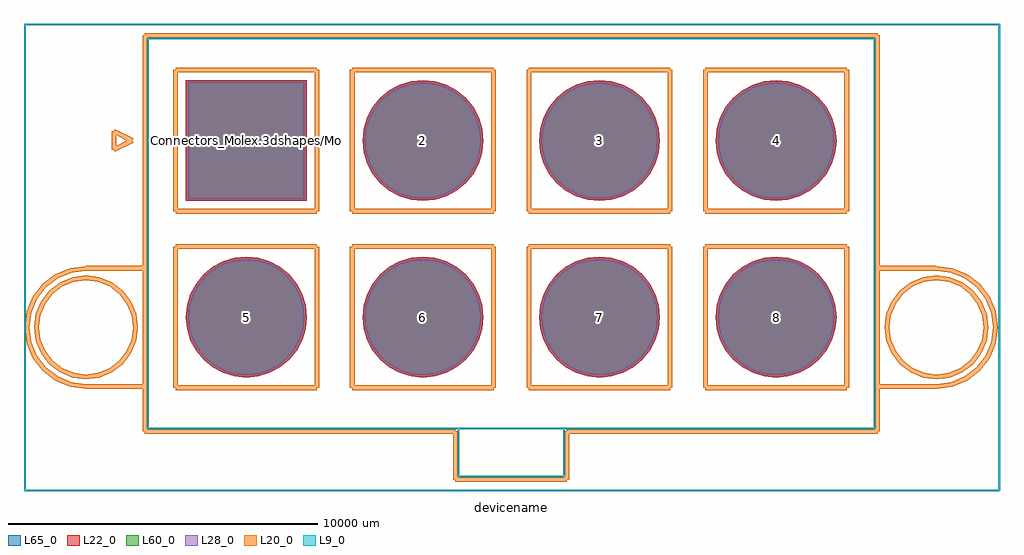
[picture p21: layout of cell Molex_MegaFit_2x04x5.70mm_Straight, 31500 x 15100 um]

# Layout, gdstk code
import gdstk
lib = gdstk.Library(unit=1e-6, precision=1e-09)
def R(c, l, rs):  # rectangles x0, y0, x1, y1
    for r in rs: c.add(gdstk.rectangle(r[:2], r[2:], *l))
def P(c, l, *ps):  # polygons
    for p in ps: c.add(gdstk.Polygon(p, *l))
L9_0 = (9, 0)
L20_0 = (20, 0)
L22_0 = (22, 0)
L28_0 = (28, 0)
L60_0 = (60, 0)
L65_0 = (65, 0)

molex_megafit_2x04x5_70m = lib.new_cell('Molex_MegaFit_2x04x5.70mm_Straight')
R(molex_megafit_2x04x5_70m, L22_0, [(-1950,-1950,1950,1950)])
P(molex_megafit_2x04x5_70m, L22_0, [(19050,-5700),(19012.531,-5319.574),(18901.565,-4953.767),(18721.366,-4616.638),(18478.858,-4321.142),(18183.362,-4078.634),(17846.233,-3898.435),(17480.426,-3787.469),(17100,-3750),(16719.574,-3787.469),(16353.767,-3898.435),(16016.638,-4078.634),(15721.142,-4321.142),(15478.634,-4616.638),(15298.435,-4953.767),(15187.469,-5319.574),(15150,-5700),(15187.469,-6080.426),(15298.435,-6446.233),(15478.634,-6783.362),(15721.142,-7078.858),(16016.638,-7321.366),(16353.767,-7501.565),(16719.574,-7612.531),(17100,-7650),(17480.426,-7612.531),(17846.233,-7501.565),(18183.362,-7321.366),(18478.858,-7078.858),(18721.366,-6783.362),(18901.565,-6446.233),(19012.531,-6080.426)],
  [(13350,-5700),(13312.531,-5319.574),(13201.565,-4953.767),(13021.366,-4616.638),(12778.858,-4321.142),(12483.362,-4078.634),(12146.233,-3898.435),(11780.426,-3787.469),(11400,-3750),(11019.574,-3787.469),(10653.767,-3898.435),(10316.638,-4078.634),(10021.142,-4321.142),(9778.634,-4616.638),(9598.435,-4953.767),(9487.469,-5319.574),(9450,-5700),(9487.469,-6080.426),(9598.435,-6446.233),(9778.634,-6783.362),(10021.142,-7078.858),(10316.638,-7321.366),(10653.767,-7501.565),(11019.574,-7612.531),(11400,-7650),(11780.426,-7612.531),(12146.233,-7501.565),(12483.362,-7321.366),(12778.858,-7078.858),(13021.366,-6783.362),(13201.565,-6446.233),(13312.531,-6080.426)],
  [(7650,-5700),(7612.531,-5319.574),(7501.565,-4953.767),(7321.366,-4616.638),(7078.858,-4321.142),(6783.362,-4078.634),(6446.233,-3898.435),(6080.426,-3787.469),(5700,-3750),(5319.574,-3787.469),(4953.767,-3898.435),(4616.638,-4078.634),(4321.142,-4321.142),(4078.634,-4616.638),(3898.435,-4953.767),(3787.469,-5319.574),(3750,-5700),(3787.469,-6080.426),(3898.435,-6446.233),(4078.634,-6783.362),(4321.142,-7078.858),(4616.638,-7321.366),(4953.767,-7501.565),(5319.574,-7612.531),(5700,-7650),(6080.426,-7612.531),(6446.233,-7501.565),(6783.362,-7321.366),(7078.858,-7078.858),(7321.366,-6783.362),(7501.565,-6446.233),(7612.531,-6080.426)],
  [(1950,-5700),(1912.531,-5319.574),(1801.565,-4953.767),(1621.366,-4616.638),(1378.858,-4321.142),(1083.362,-4078.634),(746.233,-3898.435),(380.426,-3787.469),(0,-3750),(-380.426,-3787.469),(-746.233,-3898.435),(-1083.362,-4078.634),(-1378.858,-4321.142),(-1621.366,-4616.638),(-1801.565,-4953.767),(-1912.531,-5319.574),(-1950,-5700),(-1912.531,-6080.426),(-1801.565,-6446.233),(-1621.366,-6783.362),(-1378.858,-7078.858),(-1083.362,-7321.366),(-746.233,-7501.565),(-380.426,-7612.531),(0,-7650),(380.426,-7612.531),(746.233,-7501.565),(1083.362,-7321.366),(1378.858,-7078.858),(1621.366,-6783.362),(1801.565,-6446.233),(1912.531,-6080.426)],
  [(19050,0),(19012.531,380.426),(18901.565,746.233),(18721.366,1083.362),(18478.858,1378.858),(18183.362,1621.366),(17846.233,1801.565),(17480.426,1912.531),(17100,1950),(16719.574,1912.531),(16353.767,1801.565),(16016.638,1621.366),(15721.142,1378.858),(15478.634,1083.362),(15298.435,746.233),(15187.469,380.426),(15150,0),(15187.469,-380.426),(15298.435,-746.233),(15478.634,-1083.362),(15721.142,-1378.858),(16016.638,-1621.366),(16353.767,-1801.565),(16719.574,-1912.531),(17100,-1950),(17480.426,-1912.531),(17846.233,-1801.565),(18183.362,-1621.366),(18478.858,-1378.858),(18721.366,-1083.362),(18901.565,-746.233),(19012.531,-380.426)],
  [(13350,0),(13312.531,380.426),(13201.565,746.233),(13021.366,1083.362),(12778.858,1378.858),(12483.362,1621.366),(12146.233,1801.565),(11780.426,1912.531),(11400,1950),(11019.574,1912.531),(10653.767,1801.565),(10316.638,1621.366),(10021.142,1378.858),(9778.634,1083.362),(9598.435,746.233),(9487.469,380.426),(9450,0),(9487.469,-380.426),(9598.435,-746.233),(9778.634,-1083.362),(10021.142,-1378.858),(10316.638,-1621.366),(10653.767,-1801.565),(11019.574,-1912.531),(11400,-1950),(11780.426,-1912.531),(12146.233,-1801.565),(12483.362,-1621.366),(12778.858,-1378.858),(13021.366,-1083.362),(13201.565,-746.233),(13312.531,-380.426)],
  [(7650,0),(7612.531,380.426),(7501.565,746.233),(7321.366,1083.362),(7078.858,1378.858),(6783.362,1621.366),(6446.233,1801.565),(6080.426,1912.531),(5700,1950),(5319.574,1912.531),(4953.767,1801.565),(4616.638,1621.366),(4321.142,1378.858),(4078.634,1083.362),(3898.435,746.233),(3787.469,380.426),(3750,0),(3787.469,-380.426),(3898.435,-746.233),(4078.634,-1083.362),(4321.142,-1378.858),(4616.638,-1621.366),(4953.767,-1801.565),(5319.574,-1912.531),(5700,-1950),(6080.426,-1912.531),(6446.233,-1801.565),(6783.362,-1621.366),(7078.858,-1378.858),(7321.366,-1083.362),(7501.565,-746.233),(7612.531,-380.426)])
R(molex_megafit_2x04x5_70m, L28_0, [(-1875,-1875,1875,1875)])
P(molex_megafit_2x04x5_70m, L28_0, [(18975,-5700),(18938.972,-5334.206),(18832.274,-4982.469),(18659.006,-4658.306),(18425.825,-4374.175),(18141.694,-4140.994),(17817.531,-3967.726),(17465.794,-3861.028),(17100,-3825),(16734.206,-3861.028),(16382.469,-3967.726),(16058.306,-4140.994),(15774.175,-4374.175),(15540.994,-4658.306),(15367.726,-4982.469),(15261.028,-5334.206),(15225,-5700),(15261.028,-6065.794),(15367.726,-6417.531),(15540.994,-6741.694),(15774.175,-7025.825),(16058.306,-7259.006),(16382.469,-7432.274),(16734.206,-7538.972),(17100,-7575),(17465.794,-7538.972),(17817.531,-7432.274),(18141.694,-7259.006),(18425.825,-7025.825),(18659.006,-6741.694),(18832.274,-6417.531),(18938.972,-6065.794)],
  [(13275,-5700),(13238.972,-5334.206),(13132.274,-4982.469),(12959.006,-4658.306),(12725.825,-4374.175),(12441.694,-4140.994),(12117.531,-3967.726),(11765.794,-3861.028),(11400,-3825),(11034.206,-3861.028),(10682.469,-3967.726),(10358.306,-4140.994),(10074.175,-4374.175),(9840.994,-4658.306),(9667.726,-4982.469),(9561.028,-5334.206),(9525,-5700),(9561.028,-6065.794),(9667.726,-6417.531),(9840.994,-6741.694),(10074.175,-7025.825),(10358.306,-7259.006),(10682.469,-7432.274),(11034.206,-7538.972),(11400,-7575),(11765.794,-7538.972),(12117.531,-7432.274),(12441.694,-7259.006),(12725.825,-7025.825),(12959.006,-6741.694),(13132.274,-6417.531),(13238.972,-6065.794)],
  [(7575,-5700),(7538.972,-5334.206),(7432.274,-4982.469),(7259.006,-4658.306),(7025.825,-4374.175),(6741.694,-4140.994),(6417.531,-3967.726),(6065.794,-3861.028),(5700,-3825),(5334.206,-3861.028),(4982.469,-3967.726),(4658.306,-4140.994),(4374.175,-4374.175),(4140.994,-4658.306),(3967.726,-4982.469),(3861.028,-5334.206),(3825,-5700),(3861.028,-6065.794),(3967.726,-6417.531),(4140.994,-6741.694),(4374.175,-7025.825),(4658.306,-7259.006),(4982.469,-7432.274),(5334.206,-7538.972),(5700,-7575),(6065.794,-7538.972),(6417.531,-7432.274),(6741.694,-7259.006),(7025.825,-7025.825),(7259.006,-6741.694),(7432.274,-6417.531),(7538.972,-6065.794)],
  [(1875,-5700),(1838.972,-5334.206),(1732.274,-4982.469),(1559.006,-4658.306),(1325.825,-4374.175),(1041.694,-4140.994),(717.531,-3967.726),(365.794,-3861.028),(0,-3825),(-365.794,-3861.028),(-717.531,-3967.726),(-1041.694,-4140.994),(-1325.825,-4374.175),(-1559.006,-4658.306),(-1732.274,-4982.469),(-1838.972,-5334.206),(-1875,-5700),(-1838.972,-6065.794),(-1732.274,-6417.531),(-1559.006,-6741.694),(-1325.825,-7025.825),(-1041.694,-7259.006),(-717.531,-7432.274),(-365.794,-7538.972),(0,-7575),(365.794,-7538.972),(717.531,-7432.274),(1041.694,-7259.006),(1325.825,-7025.825),(1559.006,-6741.694),(1732.274,-6417.531),(1838.972,-6065.794)],
  [(18975,0),(18938.972,365.794),(18832.274,717.531),(18659.006,1041.694),(18425.825,1325.825),(18141.694,1559.006),(17817.531,1732.274),(17465.794,1838.972),(17100,1875),(16734.206,1838.972),(16382.469,1732.274),(16058.306,1559.006),(15774.175,1325.825),(15540.994,1041.694),(15367.726,717.531),(15261.028,365.794),(15225,0),(15261.028,-365.794),(15367.726,-717.531),(15540.994,-1041.694),(15774.175,-1325.825),(16058.306,-1559.006),(16382.469,-1732.274),(16734.206,-1838.972),(17100,-1875),(17465.794,-1838.972),(17817.531,-1732.274),(18141.694,-1559.006),(18425.825,-1325.825),(18659.006,-1041.694),(18832.274,-717.531),(18938.972,-365.794)],
  [(13275,0),(13238.972,365.794),(13132.274,717.531),(12959.006,1041.694),(12725.825,1325.825),(12441.694,1559.006),(12117.531,1732.274),(11765.794,1838.972),(11400,1875),(11034.206,1838.972),(10682.469,1732.274),(10358.306,1559.006),(10074.175,1325.825),(9840.994,1041.694),(9667.726,717.531),(9561.028,365.794),(9525,0),(9561.028,-365.794),(9667.726,-717.531),(9840.994,-1041.694),(10074.175,-1325.825),(10358.306,-1559.006),(10682.469,-1732.274),(11034.206,-1838.972),(11400,-1875),(11765.794,-1838.972),(12117.531,-1732.274),(12441.694,-1559.006),(12725.825,-1325.825),(12959.006,-1041.694),(13132.274,-717.531),(13238.972,-365.794)],
  [(7575,0),(7538.972,365.794),(7432.274,717.531),(7259.006,1041.694),(7025.825,1325.825),(6741.694,1559.006),(6417.531,1732.274),(6065.794,1838.972),(5700,1875),(5334.206,1838.972),(4982.469,1732.274),(4658.306,1559.006),(4374.175,1325.825),(4140.994,1041.694),(3967.726,717.531),(3861.028,365.794),(3825,0),(3861.028,-365.794),(3967.726,-717.531),(4140.994,-1041.694),(4374.175,-1325.825),(4658.306,-1559.006),(4982.469,-1732.274),(5334.206,-1838.972),(5700,-1875),(6065.794,-1838.972),(6417.531,-1732.274),(6741.694,-1559.006),(7025.825,-1325.825),(7259.006,-1041.694),(7432.274,-717.531),(7538.972,-365.794)])
R(molex_megafit_2x04x5_70m, L60_0, [(-1875,-1875,1875,1875)])
P(molex_megafit_2x04x5_70m, L60_0, [(18975,-5700),(18938.972,-5334.206),(18832.274,-4982.469),(18659.006,-4658.306),(18425.825,-4374.175),(18141.694,-4140.994),(17817.531,-3967.726),(17465.794,-3861.028),(17100,-3825),(16734.206,-3861.028),(16382.469,-3967.726),(16058.306,-4140.994),(15774.175,-4374.175),(15540.994,-4658.306),(15367.726,-4982.469),(15261.028,-5334.206),(15225,-5700),(15261.028,-6065.794),(15367.726,-6417.531),(15540.994,-6741.694),(15774.175,-7025.825),(16058.306,-7259.006),(16382.469,-7432.274),(16734.206,-7538.972),(17100,-7575),(17465.794,-7538.972),(17817.531,-7432.274),(18141.694,-7259.006),(18425.825,-7025.825),(18659.006,-6741.694),(18832.274,-6417.531),(18938.972,-6065.794)],
  [(13275,-5700),(13238.972,-5334.206),(13132.274,-4982.469),(12959.006,-4658.306),(12725.825,-4374.175),(12441.694,-4140.994),(12117.531,-3967.726),(11765.794,-3861.028),(11400,-3825),(11034.206,-3861.028),(10682.469,-3967.726),(10358.306,-4140.994),(10074.175,-4374.175),(9840.994,-4658.306),(9667.726,-4982.469),(9561.028,-5334.206),(9525,-5700),(9561.028,-6065.794),(9667.726,-6417.531),(9840.994,-6741.694),(10074.175,-7025.825),(10358.306,-7259.006),(10682.469,-7432.274),(11034.206,-7538.972),(11400,-7575),(11765.794,-7538.972),(12117.531,-7432.274),(12441.694,-7259.006),(12725.825,-7025.825),(12959.006,-6741.694),(13132.274,-6417.531),(13238.972,-6065.794)],
  [(7575,-5700),(7538.972,-5334.206),(7432.274,-4982.469),(7259.006,-4658.306),(7025.825,-4374.175),(6741.694,-4140.994),(6417.531,-3967.726),(6065.794,-3861.028),(5700,-3825),(5334.206,-3861.028),(4982.469,-3967.726),(4658.306,-4140.994),(4374.175,-4374.175),(4140.994,-4658.306),(3967.726,-4982.469),(3861.028,-5334.206),(3825,-5700),(3861.028,-6065.794),(3967.726,-6417.531),(4140.994,-6741.694),(4374.175,-7025.825),(4658.306,-7259.006),(4982.469,-7432.274),(5334.206,-7538.972),(5700,-7575),(6065.794,-7538.972),(6417.531,-7432.274),(6741.694,-7259.006),(7025.825,-7025.825),(7259.006,-6741.694),(7432.274,-6417.531),(7538.972,-6065.794)],
  [(1875,-5700),(1838.972,-5334.206),(1732.274,-4982.469),(1559.006,-4658.306),(1325.825,-4374.175),(1041.694,-4140.994),(717.531,-3967.726),(365.794,-3861.028),(0,-3825),(-365.794,-3861.028),(-717.531,-3967.726),(-1041.694,-4140.994),(-1325.825,-4374.175),(-1559.006,-4658.306),(-1732.274,-4982.469),(-1838.972,-5334.206),(-1875,-5700),(-1838.972,-6065.794),(-1732.274,-6417.531),(-1559.006,-6741.694),(-1325.825,-7025.825),(-1041.694,-7259.006),(-717.531,-7432.274),(-365.794,-7538.972),(0,-7575),(365.794,-7538.972),(717.531,-7432.274),(1041.694,-7259.006),(1325.825,-7025.825),(1559.006,-6741.694),(1732.274,-6417.531),(1838.972,-6065.794)],
  [(18975,0),(18938.972,365.794),(18832.274,717.531),(18659.006,1041.694),(18425.825,1325.825),(18141.694,1559.006),(17817.531,1732.274),(17465.794,1838.972),(17100,1875),(16734.206,1838.972),(16382.469,1732.274),(16058.306,1559.006),(15774.175,1325.825),(15540.994,1041.694),(15367.726,717.531),(15261.028,365.794),(15225,0),(15261.028,-365.794),(15367.726,-717.531),(15540.994,-1041.694),(15774.175,-1325.825),(16058.306,-1559.006),(16382.469,-1732.274),(16734.206,-1838.972),(17100,-1875),(17465.794,-1838.972),(17817.531,-1732.274),(18141.694,-1559.006),(18425.825,-1325.825),(18659.006,-1041.694),(18832.274,-717.531),(18938.972,-365.794)],
  [(13275,0),(13238.972,365.794),(13132.274,717.531),(12959.006,1041.694),(12725.825,1325.825),(12441.694,1559.006),(12117.531,1732.274),(11765.794,1838.972),(11400,1875),(11034.206,1838.972),(10682.469,1732.274),(10358.306,1559.006),(10074.175,1325.825),(9840.994,1041.694),(9667.726,717.531),(9561.028,365.794),(9525,0),(9561.028,-365.794),(9667.726,-717.531),(9840.994,-1041.694),(10074.175,-1325.825),(10358.306,-1559.006),(10682.469,-1732.274),(11034.206,-1838.972),(11400,-1875),(11765.794,-1838.972),(12117.531,-1732.274),(12441.694,-1559.006),(12725.825,-1325.825),(12959.006,-1041.694),(13132.274,-717.531),(13238.972,-365.794)],
  [(7575,0),(7538.972,365.794),(7432.274,717.531),(7259.006,1041.694),(7025.825,1325.825),(6741.694,1559.006),(6417.531,1732.274),(6065.794,1838.972),(5700,1875),(5334.206,1838.972),(4982.469,1732.274),(4658.306,1559.006),(4374.175,1325.825),(4140.994,1041.694),(3967.726,717.531),(3861.028,365.794),(3825,0),(3861.028,-365.794),(3967.726,-717.531),(4140.994,-1041.694),(4374.175,-1325.825),(4658.306,-1559.006),(4982.469,-1732.274),(5334.206,-1838.972),(5700,-1875),(6065.794,-1838.972),(6417.531,-1732.274),(6741.694,-1559.006),(7025.825,-1325.825),(7259.006,-1041.694),(7432.274,-717.531),(7538.972,-365.794)])
R(molex_megafit_2x04x5_70m, L65_0, [(-1950,-1950,1950,1950)])
P(molex_megafit_2x04x5_70m, L65_0, [(19050,-5700),(19012.531,-5319.574),(18901.565,-4953.767),(18721.366,-4616.638),(18478.858,-4321.142),(18183.362,-4078.634),(17846.233,-3898.435),(17480.426,-3787.469),(17100,-3750),(16719.574,-3787.469),(16353.767,-3898.435),(16016.638,-4078.634),(15721.142,-4321.142),(15478.634,-4616.638),(15298.435,-4953.767),(15187.469,-5319.574),(15150,-5700),(15187.469,-6080.426),(15298.435,-6446.233),(15478.634,-6783.362),(15721.142,-7078.858),(16016.638,-7321.366),(16353.767,-7501.565),(16719.574,-7612.531),(17100,-7650),(17480.426,-7612.531),(17846.233,-7501.565),(18183.362,-7321.366),(18478.858,-7078.858),(18721.366,-6783.362),(18901.565,-6446.233),(19012.531,-6080.426)],
  [(13350,-5700),(13312.531,-5319.574),(13201.565,-4953.767),(13021.366,-4616.638),(12778.858,-4321.142),(12483.362,-4078.634),(12146.233,-3898.435),(11780.426,-3787.469),(11400,-3750),(11019.574,-3787.469),(10653.767,-3898.435),(10316.638,-4078.634),(10021.142,-4321.142),(9778.634,-4616.638),(9598.435,-4953.767),(9487.469,-5319.574),(9450,-5700),(9487.469,-6080.426),(9598.435,-6446.233),(9778.634,-6783.362),(10021.142,-7078.858),(10316.638,-7321.366),(10653.767,-7501.565),(11019.574,-7612.531),(11400,-7650),(11780.426,-7612.531),(12146.233,-7501.565),(12483.362,-7321.366),(12778.858,-7078.858),(13021.366,-6783.362),(13201.565,-6446.233),(13312.531,-6080.426)],
  [(7650,-5700),(7612.531,-5319.574),(7501.565,-4953.767),(7321.366,-4616.638),(7078.858,-4321.142),(6783.362,-4078.634),(6446.233,-3898.435),(6080.426,-3787.469),(5700,-3750),(5319.574,-3787.469),(4953.767,-3898.435),(4616.638,-4078.634),(4321.142,-4321.142),(4078.634,-4616.638),(3898.435,-4953.767),(3787.469,-5319.574),(3750,-5700),(3787.469,-6080.426),(3898.435,-6446.233),(4078.634,-6783.362),(4321.142,-7078.858),(4616.638,-7321.366),(4953.767,-7501.565),(5319.574,-7612.531),(5700,-7650),(6080.426,-7612.531),(6446.233,-7501.565),(6783.362,-7321.366),(7078.858,-7078.858),(7321.366,-6783.362),(7501.565,-6446.233),(7612.531,-6080.426)],
  [(1950,-5700),(1912.531,-5319.574),(1801.565,-4953.767),(1621.366,-4616.638),(1378.858,-4321.142),(1083.362,-4078.634),(746.233,-3898.435),(380.426,-3787.469),(0,-3750),(-380.426,-3787.469),(-746.233,-3898.435),(-1083.362,-4078.634),(-1378.858,-4321.142),(-1621.366,-4616.638),(-1801.565,-4953.767),(-1912.531,-5319.574),(-1950,-5700),(-1912.531,-6080.426),(-1801.565,-6446.233),(-1621.366,-6783.362),(-1378.858,-7078.858),(-1083.362,-7321.366),(-746.233,-7501.565),(-380.426,-7612.531),(0,-7650),(380.426,-7612.531),(746.233,-7501.565),(1083.362,-7321.366),(1378.858,-7078.858),(1621.366,-6783.362),(1801.565,-6446.233),(1912.531,-6080.426)],
  [(19050,0),(19012.531,380.426),(18901.565,746.233),(18721.366,1083.362),(18478.858,1378.858),(18183.362,1621.366),(17846.233,1801.565),(17480.426,1912.531),(17100,1950),(16719.574,1912.531),(16353.767,1801.565),(16016.638,1621.366),(15721.142,1378.858),(15478.634,1083.362),(15298.435,746.233),(15187.469,380.426),(15150,0),(15187.469,-380.426),(15298.435,-746.233),(15478.634,-1083.362),(15721.142,-1378.858),(16016.638,-1621.366),(16353.767,-1801.565),(16719.574,-1912.531),(17100,-1950),(17480.426,-1912.531),(17846.233,-1801.565),(18183.362,-1621.366),(18478.858,-1378.858),(18721.366,-1083.362),(18901.565,-746.233),(19012.531,-380.426)],
  [(13350,0),(13312.531,380.426),(13201.565,746.233),(13021.366,1083.362),(12778.858,1378.858),(12483.362,1621.366),(12146.233,1801.565),(11780.426,1912.531),(11400,1950),(11019.574,1912.531),(10653.767,1801.565),(10316.638,1621.366),(10021.142,1378.858),(9778.634,1083.362),(9598.435,746.233),(9487.469,380.426),(9450,0),(9487.469,-380.426),(9598.435,-746.233),(9778.634,-1083.362),(10021.142,-1378.858),(10316.638,-1621.366),(10653.767,-1801.565),(11019.574,-1912.531),(11400,-1950),(11780.426,-1912.531),(12146.233,-1801.565),(12483.362,-1621.366),(12778.858,-1378.858),(13021.366,-1083.362),(13201.565,-746.233),(13312.531,-380.426)],
  [(7650,0),(7612.531,380.426),(7501.565,746.233),(7321.366,1083.362),(7078.858,1378.858),(6783.362,1621.366),(6446.233,1801.565),(6080.426,1912.531),(5700,1950),(5319.574,1912.531),(4953.767,1801.565),(4616.638,1621.366),(4321.142,1378.858),(4078.634,1083.362),(3898.435,746.233),(3787.469,380.426),(3750,0),(3787.469,-380.426),(3898.435,-746.233),(4078.634,-1083.362),(4321.142,-1378.858),(4616.638,-1621.366),(4953.767,-1801.565),(5319.574,-1912.531),(5700,-1950),(6080.426,-1912.531),(6446.233,-1801.565),(6783.362,-1621.366),(7078.858,-1378.858),(7321.366,-1083.362),(7501.565,-746.233),(7612.531,-380.426)])
molex_megafit_2x04x5_70m.add(gdstk.FlexPath([(24300,3750),(-7150,3750)], 50, ends="flush", simple_path=True, layer=9, datatype=0))  # L9_0
molex_megafit_2x04x5_70m.add(gdstk.FlexPath([(24300,-11300),(24300,3750)], 50, ends="flush", simple_path=True, layer=9, datatype=0))  # L9_0
molex_megafit_2x04x5_70m.add(gdstk.FlexPath([(-7150,-11300),(24300,-11300)], 50, ends="flush", simple_path=True, layer=9, datatype=0))  # L9_0
molex_megafit_2x04x5_70m.add(gdstk.FlexPath([(-7150,3750),(-7150,-11300)], 50, ends="flush", simple_path=True, layer=9, datatype=0))  # L9_0
molex_megafit_2x04x5_70m.add(gdstk.FlexPath([(-4275,300),(-3675,0)], 149.998, ends="flush", simple_path=True, layer=20, datatype=0))  # L20_0
molex_megafit_2x04x5_70m.add(gdstk.FlexPath([(-4275,-300),(-4275,300)], 149.998, ends="flush", simple_path=True, layer=20, datatype=0))  # L20_0
molex_megafit_2x04x5_70m.add(gdstk.FlexPath([(-3675,0),(-4275,-300)], 149.998, ends="flush", simple_path=True, layer=20, datatype=0))  # L20_0
molex_megafit_2x04x5_70m.add(gdstk.FlexPath([(19380,-3420),(14820,-3420)], 149.998, ends="flush", simple_path=True, layer=20, datatype=0))  # L20_0
molex_megafit_2x04x5_70m.add(gdstk.FlexPath([(19380,-7980),(19380,-3420)], 149.998, ends="flush", simple_path=True, layer=20, datatype=0))  # L20_0
molex_megafit_2x04x5_70m.add(gdstk.FlexPath([(14820,-7980),(19380,-7980)], 149.998, ends="flush", simple_path=True, layer=20, datatype=0))  # L20_0
molex_megafit_2x04x5_70m.add(gdstk.FlexPath([(14820,-3420),(14820,-7980)], 149.998, ends="flush", simple_path=True, layer=20, datatype=0))  # L20_0
molex_megafit_2x04x5_70m.add(gdstk.FlexPath([(19380,2280),(14820,2280)], 149.998, ends="flush", simple_path=True, layer=20, datatype=0))  # L20_0
molex_megafit_2x04x5_70m.add(gdstk.FlexPath([(19380,-2280),(19380,2280)], 149.998, ends="flush", simple_path=True, layer=20, datatype=0))  # L20_0
molex_megafit_2x04x5_70m.add(gdstk.FlexPath([(14820,-2280),(19380,-2280)], 149.998, ends="flush", simple_path=True, layer=20, datatype=0))  # L20_0
molex_megafit_2x04x5_70m.add(gdstk.FlexPath([(14820,2280),(14820,-2280)], 149.998, ends="flush", simple_path=True, layer=20, datatype=0))  # L20_0
molex_megafit_2x04x5_70m.add(gdstk.FlexPath([(13680,-3420),(9120,-3420)], 149.998, ends="flush", simple_path=True, layer=20, datatype=0))  # L20_0
molex_megafit_2x04x5_70m.add(gdstk.FlexPath([(13680,-7980),(13680,-3420)], 149.998, ends="flush", simple_path=True, layer=20, datatype=0))  # L20_0
molex_megafit_2x04x5_70m.add(gdstk.FlexPath([(9120,-7980),(13680,-7980)], 149.998, ends="flush", simple_path=True, layer=20, datatype=0))  # L20_0
molex_megafit_2x04x5_70m.add(gdstk.FlexPath([(9120,-3420),(9120,-7980)], 149.998, ends="flush", simple_path=True, layer=20, datatype=0))  # L20_0
molex_megafit_2x04x5_70m.add(gdstk.FlexPath([(13680,2280),(9120,2280)], 149.998, ends="flush", simple_path=True, layer=20, datatype=0))  # L20_0
molex_megafit_2x04x5_70m.add(gdstk.FlexPath([(13680,-2280),(13680,2280)], 149.998, ends="flush", simple_path=True, layer=20, datatype=0))  # L20_0
molex_megafit_2x04x5_70m.add(gdstk.FlexPath([(9120,-2280),(13680,-2280)], 149.998, ends="flush", simple_path=True, layer=20, datatype=0))  # L20_0
molex_megafit_2x04x5_70m.add(gdstk.FlexPath([(9120,2280),(9120,-2280)], 149.998, ends="flush", simple_path=True, layer=20, datatype=0))  # L20_0
molex_megafit_2x04x5_70m.add(gdstk.FlexPath([(7980,-3420),(3420,-3420)], 149.998, ends="flush", simple_path=True, layer=20, datatype=0))  # L20_0
molex_megafit_2x04x5_70m.add(gdstk.FlexPath([(7980,-7980),(7980,-3420)], 149.998, ends="flush", simple_path=True, layer=20, datatype=0))  # L20_0
molex_megafit_2x04x5_70m.add(gdstk.FlexPath([(3420,-7980),(7980,-7980)], 149.998, ends="flush", simple_path=True, layer=20, datatype=0))  # L20_0
molex_megafit_2x04x5_70m.add(gdstk.FlexPath([(3420,-3420),(3420,-7980)], 149.998, ends="flush", simple_path=True, layer=20, datatype=0))  # L20_0
molex_megafit_2x04x5_70m.add(gdstk.FlexPath([(7980,2280),(3420,2280)], 149.998, ends="flush", simple_path=True, layer=20, datatype=0))  # L20_0
molex_megafit_2x04x5_70m.add(gdstk.FlexPath([(7980,-2280),(7980,2280)], 149.998, ends="flush", simple_path=True, layer=20, datatype=0))  # L20_0
molex_megafit_2x04x5_70m.add(gdstk.FlexPath([(3420,-2280),(7980,-2280)], 149.998, ends="flush", simple_path=True, layer=20, datatype=0))  # L20_0
molex_megafit_2x04x5_70m.add(gdstk.FlexPath([(3420,2280),(3420,-2280)], 149.998, ends="flush", simple_path=True, layer=20, datatype=0))  # L20_0
molex_megafit_2x04x5_70m.add(gdstk.FlexPath([(2280,-3420),(-2280,-3420)], 149.998, ends="flush", simple_path=True, layer=20, datatype=0))  # L20_0
molex_megafit_2x04x5_70m.add(gdstk.FlexPath([(2280,-7980),(2280,-3420)], 149.998, ends="flush", simple_path=True, layer=20, datatype=0))  # L20_0
molex_megafit_2x04x5_70m.add(gdstk.FlexPath([(-2280,-7980),(2280,-7980)], 149.998, ends="flush", simple_path=True, layer=20, datatype=0))  # L20_0
molex_megafit_2x04x5_70m.add(gdstk.FlexPath([(-2280,-3420),(-2280,-7980)], 149.998, ends="flush", simple_path=True, layer=20, datatype=0))  # L20_0
molex_megafit_2x04x5_70m.add(gdstk.FlexPath([(2280,2280),(-2280,2280)], 149.998, ends="flush", simple_path=True, layer=20, datatype=0))  # L20_0
molex_megafit_2x04x5_70m.add(gdstk.FlexPath([(2280,-2280),(2280,2280)], 149.998, ends="flush", simple_path=True, layer=20, datatype=0))  # L20_0
molex_megafit_2x04x5_70m.add(gdstk.FlexPath([(-2280,-2280),(2280,-2280)], 149.998, ends="flush", simple_path=True, layer=20, datatype=0))  # L20_0
molex_megafit_2x04x5_70m.add(gdstk.FlexPath([(-2280,2280),(-2280,-2280)], 149.998, ends="flush", simple_path=True, layer=20, datatype=0))  # L20_0
molex_megafit_2x04x5_70m.add(gdstk.FlexPath([(22275,-7936.25),(20375,-7936.25)], 149.998, ends="flush", simple_path=True, layer=20, datatype=0))  # L20_0
molex_megafit_2x04x5_70m.add(gdstk.FlexPath([(22275,-4123.75),(20375,-4123.75)], 149.998, ends="flush", simple_path=True, layer=20, datatype=0))  # L20_0
molex_megafit_2x04x5_70m.add(gdstk.FlexPath([(-5175,-7936.25),(-3275,-7936.25)], 149.998, ends="flush", simple_path=True, layer=20, datatype=0))  # L20_0
molex_megafit_2x04x5_70m.add(gdstk.FlexPath([(-5175,-4123.75),(-3275,-4123.75)], 149.998, ends="flush", simple_path=True, layer=20, datatype=0))  # L20_0
molex_megafit_2x04x5_70m.add(gdstk.FlexPath([(10350,-10940),(8550,-10940)], 149.998, ends="flush", simple_path=True, layer=20, datatype=0))  # L20_0
molex_megafit_2x04x5_70m.add(gdstk.FlexPath([(10350,-9390),(10350,-10940)], 149.998, ends="flush", simple_path=True, layer=20, datatype=0))  # L20_0
molex_megafit_2x04x5_70m.add(gdstk.FlexPath([(20375,-9390),(10350,-9390)], 149.998, ends="flush", simple_path=True, layer=20, datatype=0))  # L20_0
molex_megafit_2x04x5_70m.add(gdstk.FlexPath([(20375,3390),(20375,-9390)], 149.998, ends="flush", simple_path=True, layer=20, datatype=0))  # L20_0
molex_megafit_2x04x5_70m.add(gdstk.FlexPath([(8550,3390),(20375,3390)], 149.998, ends="flush", simple_path=True, layer=20, datatype=0))  # L20_0
molex_megafit_2x04x5_70m.add(gdstk.FlexPath([(6750,-10940),(8550,-10940)], 149.998, ends="flush", simple_path=True, layer=20, datatype=0))  # L20_0
molex_megafit_2x04x5_70m.add(gdstk.FlexPath([(6750,-9390),(6750,-10940)], 149.998, ends="flush", simple_path=True, layer=20, datatype=0))  # L20_0
molex_megafit_2x04x5_70m.add(gdstk.FlexPath([(-3275,-9390),(6750,-9390)], 149.998, ends="flush", simple_path=True, layer=20, datatype=0))  # L20_0
molex_megafit_2x04x5_70m.add(gdstk.FlexPath([(-3275,3390),(-3275,-9390)], 149.998, ends="flush", simple_path=True, layer=20, datatype=0))  # L20_0
molex_megafit_2x04x5_70m.add(gdstk.FlexPath([(8550,3390),(-3275,3390)], 149.998, ends="flush", simple_path=True, layer=20, datatype=0))  # L20_0
molex_megafit_2x04x5_70m.add(gdstk.FlexPath([(10250,-10840),(10250,-9290)], 50, ends="flush", simple_path=True, layer=9, datatype=0))  # L9_0
molex_megafit_2x04x5_70m.add(gdstk.FlexPath([(6850,-10840),(10250,-10840)], 50, ends="flush", simple_path=True, layer=9, datatype=0))  # L9_0
molex_megafit_2x04x5_70m.add(gdstk.FlexPath([(6850,-9290),(6850,-10840)], 50, ends="flush", simple_path=True, layer=9, datatype=0))  # L9_0
molex_megafit_2x04x5_70m.add(gdstk.FlexPath([(20275,3290),(-3175,3290)], 50, ends="flush", simple_path=True, layer=9, datatype=0))  # L9_0
molex_megafit_2x04x5_70m.add(gdstk.FlexPath([(20275,-9290),(20275,3290)], 50, ends="flush", simple_path=True, layer=9, datatype=0))  # L9_0
molex_megafit_2x04x5_70m.add(gdstk.FlexPath([(-3175,-9290),(20275,-9290)], 50, ends="flush", simple_path=True, layer=9, datatype=0))  # L9_0
molex_megafit_2x04x5_70m.add(gdstk.FlexPath([(-3175,3290),(-3175,-9290)], 50, ends="flush", simple_path=True, layer=9, datatype=0))  # L9_0
molex_megafit_2x04x5_70m.add(gdstk.FlexPath([(23875,-6030),(23820.481,-5615.89),(23660.641,-5230),(23406.371,-4898.629),(23075,-4644.359),(22689.11,-4484.519),(22275,-4430),(21860.89,-4484.519),(21475,-4644.359),(21143.629,-4898.629),(20889.359,-5230),(20729.519,-5615.89),(20675,-6030),(20729.519,-6444.11),(20889.359,-6830),(21143.629,-7161.371),(21475,-7415.641),(21860.89,-7575.481),(22275,-7630),(22689.11,-7575.481),(23075,-7415.641),(23406.371,-7161.371),(23660.641,-6830),(23820.481,-6444.11),(23875,-6030)], 149.998, ends="flush", simple_path=True, layer=20, datatype=0))  # L20_0
molex_megafit_2x04x5_70m.add(gdstk.FlexPath([(-3575,-6030),(-3629.519,-5615.89),(-3789.359,-5230),(-4043.629,-4898.629),(-4375,-4644.359),(-4760.89,-4484.519),(-5175,-4430),(-5589.11,-4484.519),(-5975,-4644.359),(-6306.371,-4898.629),(-6560.641,-5230),(-6720.481,-5615.89),(-6775,-6030),(-6720.481,-6444.11),(-6560.641,-6830),(-6306.371,-7161.371),(-5975,-7415.641),(-5589.11,-7575.481),(-5175,-7630),(-4760.89,-7575.481),(-4375,-7415.641),(-4043.629,-7161.371),(-3789.359,-6830),(-3629.519,-6444.11),(-3575,-6030)], 149.998, ends="flush", simple_path=True, layer=20, datatype=0))  # L20_0
molex_megafit_2x04x5_70m.add(gdstk.FlexPath([(22275,-7936.25),(22768.374,-7871.296),(23228.125,-7680.861),(23622.922,-7377.922),(23925.861,-6983.125),(24116.296,-6523.374),(24181.25,-6030),(24116.296,-5536.626),(23925.861,-5076.875),(23622.922,-4682.078),(23228.125,-4379.139),(22768.374,-4188.704),(22275,-4123.75)], 149.998, ends="flush", simple_path=True, layer=20, datatype=0))  # L20_0
molex_megafit_2x04x5_70m.add(gdstk.FlexPath([(-5175,-4123.75),(-5668.374,-4188.704),(-6128.125,-4379.139),(-6522.922,-4682.078),(-6825.861,-5076.875),(-7016.296,-5536.626),(-7081.25,-6030),(-7016.296,-6523.374),(-6825.861,-6983.125),(-6522.922,-7377.922),(-6128.125,-7680.861),(-5668.374,-7871.296),(-5175,-7936.25)], 149.998, ends="flush", simple_path=True, layer=20, datatype=0))  # L20_0
molex_megafit_2x04x5_70m.add(gdstk.Label('Connectors_Molex.3dshapes/Molex_MegaFit_2x04x5.70mm_Straight.wrl', (0,0), layer=12, texttype=0))
molex_megafit_2x04x5_70m.add(gdstk.Label('8', (17100,-5700), layer=28, texttype=0))
molex_megafit_2x04x5_70m.add(gdstk.Label('7', (11400,-5700), layer=28, texttype=0))
molex_megafit_2x04x5_70m.add(gdstk.Label('6', (5700,-5700), layer=28, texttype=0))
molex_megafit_2x04x5_70m.add(gdstk.Label('5', (0,-5700), layer=28, texttype=0))
molex_megafit_2x04x5_70m.add(gdstk.Label('4', (17100,0), layer=28, texttype=0))
molex_megafit_2x04x5_70m.add(gdstk.Label('3', (11400,0), layer=28, texttype=0))
molex_megafit_2x04x5_70m.add(gdstk.Label('2', (5700,0), layer=28, texttype=0))
molex_megafit_2x04x5_70m.add(gdstk.Label('1', (0,0), layer=28, texttype=0))
molex_megafit_2x04x5_70m.add(gdstk.Label('type', (8550,4700), layer=9, texttype=0))
molex_megafit_2x04x5_70m.add(gdstk.Label('devicename', (8550,-12000), layer=9, texttype=0))

lib.write_gds('Molex_MegaFit_2x04x5.70mm_Straight.gds')
